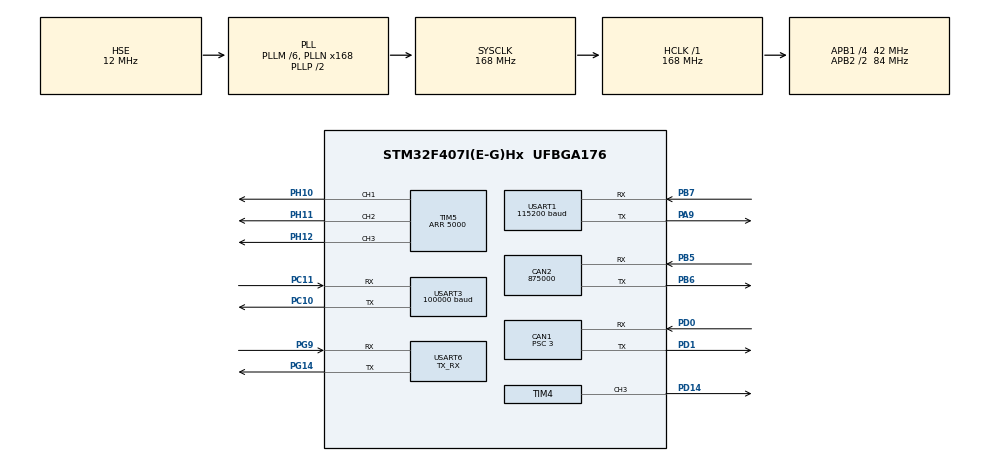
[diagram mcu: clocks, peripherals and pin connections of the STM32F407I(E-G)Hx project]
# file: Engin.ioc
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CAN1.BS1=CAN_BS1_10TQ
CAN1.BS2=CAN_BS2_3TQ
CAN1.CalculateBaudRate=1000000
CAN1.CalculateTimeBit=1000
CAN1.CalculateTimeQuantum=71.42857142857143
CAN1.Prescaler=3
CAN2.CalculateBaudRate=875000
CAN2.CalculateTimeBit=1142
CAN2.CalculateTimeQuantum=380.95238095238096
Dma.Request0=USART3_RX
Dma.USART3_RX.0.Direction=DMA_PERIPH_TO_MEMORY
Dma.USART3_RX.0.FIFOMode=DMA_FIFOMODE_DISABLE
Dma.USART3_RX.0.Instance=DMA1_Stream1
Dma.USART3_RX.0.MemDataAlignment=DMA_MDATAALIGN_BYTE
Dma.USART3_RX.0.MemInc=DMA_MINC_ENABLE
Dma.USART3_RX.0.Mode=DMA_CIRCULAR
Dma.USART3_RX.0.PeriphDataAlignment=DMA_PDATAALIGN_BYTE
Dma.USART3_RX.0.PeriphInc=DMA_PINC_DISABLE
Dma.USART3_RX.0.Priority=DMA_PRIORITY_VERY_HIGH
Mcu.Family=STM32F4
Mcu.Name=STM32F407I(E-G)Hx
Mcu.Package=UFBGA176
NVIC.CAN1_RX0_IRQn=true\:7\:0\:true\:false\:true\:true\:true\:true
NVIC.CAN1_RX1_IRQn=true\:7\:0\:true\:false\:true\:true\:true\:true
NVIC.CAN2_RX0_IRQn=true\:7\:0\:true\:false\:true\:true\:true\:true
NVIC.CAN2_RX1_IRQn=true\:7\:0\:true\:false\:true\:true\:true\:true
NVIC.DMA1_Stream1_IRQn=true\:0\:0\:false\:false\:true\:false\:true\:true
NVIC.PriorityGroup=NVIC_PRIORITYGROUP_4
NVIC.USART1_IRQn=true\:6\:0\:true\:false\:true\:true\:true\:true
NVIC.USART3_IRQn=true\:6\:0\:true\:false\:true\:true\:true\:true
NVIC.USART6_IRQn=true\:6\:0\:true\:false\:true\:true\:true\:true
PA13.Mode=Serial_Wire
PA13.Signal=SYS_JTMS-SWDIO
PA14.Mode=Serial_Wire
PA14.Signal=SYS_JTCK-SWCLK
PA9.Mode=Asynchronous
PA9.Signal=USART1_TX
PB5.Mode=CAN_Activate
PB5.Signal=CAN2_RX
PB6.Mode=CAN_Activate
PB6.Signal=CAN2_TX
PB7.Mode=Asynchronous
PB7.Signal=USART1_RX
PC10.Mode=Asynchronous
PC10.Signal=USART3_TX
PC11.Mode=Asynchronous
PC11.Signal=USART3_RX
PD0.Mode=CAN_Activate
PD0.Signal=CAN1_RX
PD1.Mode=CAN_Activate
PD1.Signal=CAN1_TX
PD14.Signal=S_TIM4_CH3
PG14.Mode=Asynchronous
PG14.Signal=USART6_TX
PG9.Mode=Asynchronous
PG9.Signal=USART6_RX
PH0-OSC_IN.Mode=HSE-External-Oscillator
PH0-OSC_IN.Signal=RCC_OSC_IN
PH1-OSC_OUT.Mode=HSE-External-Oscillator
PH1-OSC_OUT.Signal=RCC_OSC_OUT
PH10.Signal=S_TIM5_CH1
PH11.Signal=S_TIM5_CH2
PH12.Signal=S_TIM5_CH3
ProjectManager.HeapSize=0x200
ProjectManager.StackSize=0x400
ProjectManager.TargetToolchain=MDK-ARM V5.32
RCC.48MHZClocksFreq_Value=84000000
RCC.AHBFreq_Value=168000000
RCC.APB1CLKDivider=RCC_HCLK_DIV4
RCC.APB1Freq_Value=42000000
RCC.APB1TimFreq_Value=84000000
RCC.APB2CLKDivider=RCC_HCLK_DIV2
RCC.APB2Freq_Value=84000000
RCC.APB2TimFreq_Value=168000000
RCC.CortexFreq_Value=168000000
RCC.HCLKFreq_Value=168000000
RCC.HSE_VALUE=12000000
RCC.HSI_VALUE=16000000
RCC.PLLM=6
RCC.PLLN=168
RCC.PLLSourceVirtual=RCC_PLLSOURCE_HSE
RCC.SYSCLKFreq_VALUE=168000000
RCC.SYSCLKSource=RCC_SYSCLKSOURCE_PLLCLK
RCC.VCOOutputFreq_Value=336000000
SH.S_TIM4_CH3.0=TIM4_CH3,PWM Generation3 CH3
SH.S_TIM5_CH1.0=TIM5_CH1,PWM Generation1 CH1
SH.S_TIM5_CH2.0=TIM5_CH2,PWM Generation2 CH2
SH.S_TIM5_CH3.0=TIM5_CH3,PWM Generation3 CH3
TIM4.Channel-PWM\ Generation3\ CH3=TIM_CHANNEL_3
TIM4.Period=10000-1
TIM4.Prescaler=1
TIM5.Channel-PWM\ Generation1\ CH1=TIM_CHANNEL_1
TIM5.Channel-PWM\ Generation2\ CH2=TIM_CHANNEL_2
TIM5.Channel-PWM\ Generation3\ CH3=TIM_CHANNEL_3
TIM5.Period=5000
TIM6.Prescaler=84-1
USART1.BaudRate=115200
USART1.Mode=MODE_TX_RX
USART1.VirtualMode=VM_ASYNC
USART3.BaudRate=100000
USART3.Mode=MODE_RX
USART3.Parity=PARITY_EVEN
USART3.VirtualMode=VM_ASYNC
USART6.Mode=MODE_TX_RX
USART6.Parity=PARITY_EVEN
USART6.VirtualMode=VM_ASYNC
VP_TIM4_VS_ClockSourceINT.Mode=Internal
VP_TIM5_VS_ClockSourceINT.Mode=Internal
VP_TIM6_VS_ClockSourceINT.Mode=Enable_Timer
board=custom

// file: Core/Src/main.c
/* USER CODE BEGIN Header */
/**
  ******************************************************************************
  * @file           : main.c
  * @brief          : Main program body
  ******************************************************************************
  * @attention
  *
  * Copyright (c) 2024 STMicroelectronics.
  * All rights reserved.
  *
  * This software is licensed under terms that can be found in the LICENSE file
  * in the root directory of this software component.
  * If no LICENSE file comes with this software, it is provided AS-IS.
  *
  ******************************************************************************
  */
/* USER CODE END Header */
#include "main.h"
#include "can.h"
#include "dma.h"
#include "tim.h"
#include "usart.h"
#include "gpio.h"

/* USER CODE BEGIN Includes */

#include "Chassis_Task.h"
#include "Lifting_Task.h"
#include "Gimbal_Task.h"
#include "MechanicalArm_Task.h"

/* USER CODE END Includes */

/* USER CODE BEGIN PTD */
#define unit_speed 10000/660.0
#define angle_ratio 0.1*8191/660.0
DBUS remoter;
uint8_t dbus_resive[18];

/*chassis*/

/*lifting*/

/*debug*/

//extern motor_measure_t motor_chassis[4];
//pids motor_pid;

//int16_t current[4];
//int16_t speed[4];

static uint8_t rxBuffer[MAX_RX_BUFFER_SIZE];  // 定义接收数据的数组
uint32_t rxBufferIdx = 0;  // 定义接收数据的索引

static float encoder_angle_set[4];

/* USER CODE END PTD */

void SystemClock_Config(void);
/* USER CODE BEGIN PFP */

void airpump_transmit(void);

void LED_RX_Status_display(void);

  uint8_t	airpump_tx[] ="STM32F407xx" ;
/* USER CODE END PFP */

int main(void)
{

  /* USER CODE BEGIN 1 */
// 等待优化列表
// DWT 延时引入
//	 学习引入pid优化
// 写一个根据电机接收情况亮灯的反馈
// 先每个任务写个初始化,然后所有初始化封装为一个
// pid 参数整理,分别放在task.h,名称有指向
// 缺少各类函数优化,电机过零处理�?
// 电机,通道值各类方向要便于修改
// 状态机优化完整,宏或其他方法

  /* USER CODE END 1 */

  /* MCU Configuration--------------------------------------------------------*/

  /* Reset of all peripherals, Initializes the Flash interface and the Systick. */
  HAL_Init();

  /* USER CODE BEGIN Init */

	mechanicalarm_init();

	remote_control_init();
    can_start();

  /* USER CODE END Init */

  /* Configure the system clock */
  SystemClock_Config();

  /* Initialize all configured peripherals */
  MX_GPIO_Init();
  MX_DMA_Init();
  MX_CAN1_Init();
  MX_USART3_UART_Init();
  MX_USART1_UART_Init();
  MX_CAN2_Init();
  MX_USART6_UART_Init();
  MX_TIM6_Init();
  MX_TIM4_Init();
  MX_TIM5_Init();
  /* USER CODE BEGIN 2 */

// HAL_UART_Transmit(&huart1, airpump_tx, sizeof(airpump_tx),500);

//  HAL_UART_Receive_DMA(&huart3,dbus_resive,18);
//  __HAL_UART_ENABLE_IT(&huart3, UART_IT_IDLE);

    HAL_UART_Receive_IT(&huart6,rxBuffer,MAX_RX_BUFFER_SIZE);
 /*         debug        */
//  __HAL_UART_ENABLE_IT(&huart1, UART_IT_IDLE);

  /* USER CODE END 2 */

  /* Infinite loop */
  while (1)
	  {

    /* USER CODE BEGIN 3 */

/*
		  air_pump
*/

////	if(rc_ctrl.rc.s[1] == 2){
// HAL_UART_Transmit(&huart1, airpump_tx, sizeof(airpump_tx),500);//发送没有问题,注意rx,tx
////	}
//
//

/*
                      	chassis_task
*/

//chassis_task();

//
///*                      lifitng_task
//*/

//lifitng_task();

/*						MechanicalArm_Task
*/
	HAL_UART_Receive(&huart6,rxBuffer,MAX_RX_BUFFER_SIZE,0xffff);
	HAL_UART_Receive_IT(&huart6,rxBuffer,MAX_RX_BUFFER_SIZE);
	encoder_to_damiao(rxBuffer,encoder_angle_set);

	mechanicalarm_task(encoder_angle_set);

///*                     debug
//
//*/

//JustFloat(0, 0, motor_lifting[1].real_angle,motor_lifting[0].real_angle, &huart6);//vofa

//pidINIT(&motor_pid,PID_POSITION,3,3,0,10000,200);
////fp32 set_angle=5000;//rc_ctrl.rc.ch[1]*8191/660*0.01;

//speed[0]=1600;//PID_calc(&motor_pid,motor_chassis[2].real_angle,motor_chassis[2].real_angle+set_angle);
////current[0]=PID_calc(&motor_pid,motor_chassis[0].real_angle,motor_chassis[0].real_angle+set_angle)+PID_calc(&motor_pid,motor_chassis[0].speed_rpm,0);
//current[2]=PID_calc(&motor_pid,motor_chassis[2].speed_rpm,speed[0]);

//CAN_cmd_chassis(current);

//angle_debug();
  }
  /* USER CODE END 3 */
}

void SystemClock_Config(void)
{
  RCC_OscInitTypeDef RCC_OscInitStruct = {0};
  RCC_ClkInitTypeDef RCC_ClkInitStruct = {0};

  /** Configure the main internal regulator output voltage
  */
  __HAL_RCC_PWR_CLK_ENABLE();
  __HAL_PWR_VOLTAGESCALING_CONFIG(PWR_REGULATOR_VOLTAGE_SCALE1);

  /** Initializes the RCC Oscillators according to the specified parameters
  * in the RCC_OscInitTypeDef structure.
  */
  RCC_OscInitStruct.OscillatorType = RCC_OSCILLATORTYPE_HSE;
  RCC_OscInitStruct.HSEState = RCC_HSE_ON;
  RCC_OscInitStruct.PLL.PLLState = RCC_PLL_ON;
  RCC_OscInitStruct.PLL.PLLSource = RCC_PLLSOURCE_HSE;
  RCC_OscInitStruct.PLL.PLLM = 6;
  RCC_OscInitStruct.PLL.PLLN = 168;
  RCC_OscInitStruct.PLL.PLLP = RCC_PLLP_DIV2;
  RCC_OscInitStruct.PLL.PLLQ = 4;
  if (HAL_RCC_OscConfig(&RCC_OscInitStruct) != HAL_OK)
  {
    Error_Handler();
  }

  /** Initializes the CPU, AHB and APB buses clocks
  */
  RCC_ClkInitStruct.ClockType = RCC_CLOCKTYPE_HCLK|RCC_CLOCKTYPE_SYSCLK
                              |RCC_CLOCKTYPE_PCLK1|RCC_CLOCKTYPE_PCLK2;
  RCC_ClkInitStruct.SYSCLKSource = RCC_SYSCLKSOURCE_PLLCLK;
  RCC_ClkInitStruct.AHBCLKDivider = RCC_SYSCLK_DIV1;
  RCC_ClkInitStruct.APB1CLKDivider = RCC_HCLK_DIV4;
  RCC_ClkInitStruct.APB2CLKDivider = RCC_HCLK_DIV2;

  if (HAL_RCC_ClockConfig(&RCC_ClkInitStruct, FLASH_LATENCY_5) != HAL_OK)
  {
    Error_Handler();
  }
}

/* USER CODE BEGIN 4 */

/*          AIR PUMP        */

/*		debug_damiao_rx		*/

void HAL_UART_RxCpltCallback(UART_HandleTypeDef *huart)
{
	if(huart == &huart6)  // 假设是串口6的接收中断
  {
    rxBuffer[rxBufferIdx++] = huart->Instance->DR;  // 将接收到的数据存入数组，并更新索引

    if (rxBufferIdx >= MAX_RX_BUFFER_SIZE)
    {
      rxBufferIdx = 0;  // 如果超过了数组大小，可以选择重置索引或者其他处理方式
    }
  }

}

/////*        亮灯显示接收状态              */
//void LED_RX_Status_display(void)//有问题,灯点不亮
//{
//	//每个电机分开写if,怎么判断值齐不齐?//不需要判断,都有就不会进if
//	//缺那几个id的就连续闪几下,隔几秒再闪几下
//	//不同部分颜色分开,分先后
//	uint8_t id,n;
//	for(id=0;id<=3;id++)
//	{
//		if(motor_chassis[id].temperate == NULL)
//		{	for(n=0;n<=id;n++)
//			{
//				HAL_GPIO_WritePin(GPIOH,GPIO_PIN_11,GPIO_PIN_SET);
//				HAL_Delay(500);
//				HAL_GPIO_WritePin(GPIOH,GPIO_PIN_11,GPIO_PIN_RESET);
//				HAL_Delay(500);
//
//				HAL_GPIO_WritePin(GPIOH,GPIO_PIN_10,GPIO_PIN_SET);
//				HAL_Delay(500);
//				HAL_GPIO_WritePin(GPIOH,GPIO_PIN_10,GPIO_PIN_RESET);
//				HAL_Delay(500);
//
//				HAL_GPIO_WritePin(GPIOH,GPIO_PIN_12,GPIO_PIN_SET);
//				HAL_Delay(500);
//				HAL_GPIO_WritePin(GPIOH,GPIO_PIN_12,GPIO_PIN_RESET);
//				HAL_Delay(500);
//			}
//		HAL_Delay(2000);
//		}
//	}
//}

/* USER CODE END 4 */

void Error_Handler(void)
{
  __disable_irq();
  while (1)
  {
  }
}
